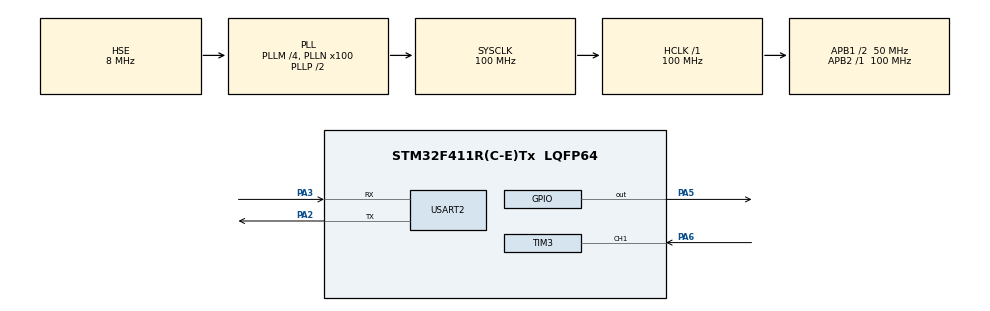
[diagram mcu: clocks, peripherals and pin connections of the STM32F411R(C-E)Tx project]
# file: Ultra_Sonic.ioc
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Mcu.Family=STM32F4
Mcu.Name=STM32F411R(C-E)Tx
Mcu.Package=LQFP64
NVIC.PriorityGroup=NVIC_PRIORITYGROUP_4
NVIC.TIM1_TRG_COM_TIM11_IRQn=true\:0\:0\:false\:false\:true\:true\:true\:true
NVIC.TIM3_IRQn=true\:0\:0\:false\:false\:true\:true\:true\:true
NVIC.USART2_IRQn=true\:0\:0\:false\:false\:true\:true\:true\:true
PA13.Mode=Serial_Wire
PA13.Signal=SYS_JTMS-SWDIO
PA14.Mode=Serial_Wire
PA14.Signal=SYS_JTCK-SWCLK
PA2.Mode=Asynchronous
PA2.Signal=USART2_TX
PA3.Mode=Asynchronous
PA3.Signal=USART2_RX
PA5.GPIO_Speed=GPIO_SPEED_FREQ_HIGH
PA5.Signal=GPIO_Output
PA6.Signal=S_TIM3_CH1
PH0\ -\ OSC_IN.Mode=HSE-External-Oscillator
PH0\ -\ OSC_IN.Signal=RCC_OSC_IN
PH1\ -\ OSC_OUT.Mode=HSE-External-Oscillator
PH1\ -\ OSC_OUT.Signal=RCC_OSC_OUT
ProjectManager.HeapSize=0x200
ProjectManager.StackSize=0x400
ProjectManager.TargetToolchain=STM32CubeIDE
RCC.48MHZClocksFreq_Value=50000000
RCC.AHBFreq_Value=100000000
RCC.APB1CLKDivider=RCC_HCLK_DIV2
RCC.APB1Freq_Value=50000000
RCC.APB1TimFreq_Value=100000000
RCC.APB2Freq_Value=100000000
RCC.APB2TimFreq_Value=100000000
RCC.CortexFreq_Value=100000000
RCC.HCLKFreq_Value=100000000
RCC.HSE_VALUE=8000000
RCC.HSI_VALUE=16000000
RCC.LSE_VALUE=32768
RCC.PLLM=4
RCC.PLLN=100
RCC.PLLSourceVirtual=RCC_PLLSOURCE_HSE
RCC.SYSCLKFreq_VALUE=100000000
RCC.SYSCLKSource=RCC_SYSCLKSOURCE_PLLCLK
RCC.VCOOutputFreq_Value=200000000
SH.S_TIM3_CH1.0=TIM3_CH1,Input_Capture1_from_TI1
TIM11.Prescaler=100-1
TIM3.AutoReloadPreload=TIM_AUTORELOAD_PRELOAD_DISABLE
TIM3.Channel-Input_Capture1_from_TI1=TIM_CHANNEL_1
TIM3.Period=0xffff-1
TIM3.Prescaler=100-1
USART2.VirtualMode=VM_ASYNC
VP_TIM11_VS_ClockSourceINT.Mode=Enable_Timer
VP_TIM3_VS_ClockSourceINT.Mode=Internal
board=custom

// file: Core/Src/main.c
/* USER CODE BEGIN Header */
/**
  ******************************************************************************
  * @file           : main.c
  * @brief          : Main program body
  ******************************************************************************
  * @attention
  *
  * Copyright (c) 2023 STMicroelectronics.
  * All rights reserved.
  *
  * This software is licensed under terms that can be found in the LICENSE file
  * in the root directory of this software component.
  * If no LICENSE file comes with this software, it is provided AS-IS.
  *
  ******************************************************************************
  */
/* USER CODE END Header */
#include "main.h"
#include "tim.h"
#include "usart.h"
#include "gpio.h"

/* USER CODE BEGIN Includes */

#include "stdio.h"
#include "delay.h"

/* USER CODE END Includes */

/* USER CODE BEGIN PD */

#define TRIG_PORT   GPIOA
#define TRIG_PIN    GPIO_PIN_5

/* USER CODE END PD */

/* USER CODE BEGIN PM */

#ifdef __GNUC__
  /* With GCC, small printf (option LD Linker->Libraries->Small printf
     set to 'Yes') calls __io_putchar() */
  #define PUTCHAR_PROTOTYPE int __io_putchar(int ch)
#else
  #define PUTCHAR_PROTOTYPE int fputc(int ch, FILE *f)
#endif /* __GNUC__ */
PUTCHAR_PROTOTYPE
{
  /* Place your implementation of fputc here */
  /* e.g. write a character to the EVAL_COM1 and Loop until the end of transmission */
  HAL_UART_Transmit(&huart2, (uint8_t *)&ch, 1, 0xFFFF);

  return ch;
}

/* USER CODE END PM */

/* USER CODE BEGIN PV */

uint32_t INC_Value1 = 0;
uint32_t INC_Value2 = 0;
uint32_t echoTime = 0;
uint8_t captureFlag = 0;
uint8_t distance  = 0;

//uint8_t Is_First_Captured = 0;  // is the first value captured ?

/* USER CODE END PV */

void SystemClock_Config(void);
/* USER CODE BEGIN PFP */

void HAL_TIM_IC_CaptureCallback(TIM_HandleTypeDef *htim)
{
    if (htim->Channel == HAL_TIM_ACTIVE_CHANNEL_1)  // if the interrupt source is channel1
    {
        if (captureFlag == 0) // if the first value is not captured
        {
          INC_Value1 = HAL_TIM_ReadCapturedValue(&htim3, TIM_CHANNEL_1); // read the first value
          captureFlag = 1;  // set the first captured as true

            // Now change the polarity to falling edge
            __HAL_TIM_SET_CAPTUREPOLARITY(htim, TIM_CHANNEL_1, TIM_INPUTCHANNELPOLARITY_FALLING);
        }

        else if (captureFlag == 1)   // if the first is already captured
        {
          INC_Value2 = HAL_TIM_ReadCapturedValue(&htim3, TIM_CHANNEL_1);  // read second value
            __HAL_TIM_SET_COUNTER(&htim3, 0);  // reset the counter

            if (INC_Value2 > INC_Value1)
            {
              echoTime = INC_Value2-INC_Value1;
            }

            else if (INC_Value1 > INC_Value2)
            {
              echoTime = (0xffff - INC_Value1) + INC_Value2;
            }

            //distance = echoTime * .034/2;
            distance = echoTime/58;
            captureFlag = 0; // set it back to false

            // set polarity to rising edge
            __HAL_TIM_SET_CAPTUREPOLARITY(htim, TIM_CHANNEL_1, TIM_INPUTCHANNELPOLARITY_RISING);
            __HAL_TIM_DISABLE_IT(&htim3, TIM_IT_CC1);
        }
    }
}

void HCSR04_Read (void)
{
    HAL_GPIO_WritePin(TRIG_PORT, TRIG_PIN, GPIO_PIN_SET);  // pull the TRIG pin HIGH
    delay_us(10);  // wait for 10 us
    HAL_GPIO_WritePin(TRIG_PORT, TRIG_PIN, GPIO_PIN_RESET);  // pull the TRIG pin low

    __HAL_TIM_ENABLE_IT(&htim3, TIM_IT_CC1);
}

/* USER CODE END PFP */

int main(void)
{

  /* MCU Configuration--------------------------------------------------------*/

  /* Reset of all peripherals, Initializes the Flash interface and the Systick. */
  HAL_Init();

  /* Configure the system clock */
  SystemClock_Config();

  /* Initialize all configured peripherals */
  MX_GPIO_Init();
  MX_TIM3_Init();
  MX_USART2_UART_Init();
  MX_TIM11_Init();
  /* USER CODE BEGIN 2 */
  HAL_TIM_Base_Start_IT(&htim11);
  HAL_TIM_IC_Start_IT(&htim3, TIM_CHANNEL_1);

  /* USER CODE END 2 */

  /* Infinite loop */
  while (1)
  {

    /* USER CODE BEGIN 3 */

    HCSR04_Read();
    if(distance < 10)
    {
    	printf("warning\r\n");
    	HAL_Delay(200);
    }
    else
    {
    	printf("%d cm\r\n",distance);
		HAL_Delay(200);
    }

  }
  /* USER CODE END 3 */
}

void SystemClock_Config(void)
{
  RCC_OscInitTypeDef RCC_OscInitStruct = {0};
  RCC_ClkInitTypeDef RCC_ClkInitStruct = {0};

  /** Configure the main internal regulator output voltage
  */
  __HAL_RCC_PWR_CLK_ENABLE();
  __HAL_PWR_VOLTAGESCALING_CONFIG(PWR_REGULATOR_VOLTAGE_SCALE1);

  /** Initializes the RCC Oscillators according to the specified parameters
  * in the RCC_OscInitTypeDef structure.
  */
  RCC_OscInitStruct.OscillatorType = RCC_OSCILLATORTYPE_HSE;
  RCC_OscInitStruct.HSEState = RCC_HSE_ON;
  RCC_OscInitStruct.PLL.PLLState = RCC_PLL_ON;
  RCC_OscInitStruct.PLL.PLLSource = RCC_PLLSOURCE_HSE;
  RCC_OscInitStruct.PLL.PLLM = 4;
  RCC_OscInitStruct.PLL.PLLN = 100;
  RCC_OscInitStruct.PLL.PLLP = RCC_PLLP_DIV2;
  RCC_OscInitStruct.PLL.PLLQ = 4;
  if (HAL_RCC_OscConfig(&RCC_OscInitStruct) != HAL_OK)
  {
    Error_Handler();
  }

  /** Initializes the CPU, AHB and APB buses clocks
  */
  RCC_ClkInitStruct.ClockType = RCC_CLOCKTYPE_HCLK|RCC_CLOCKTYPE_SYSCLK
                              |RCC_CLOCKTYPE_PCLK1|RCC_CLOCKTYPE_PCLK2;
  RCC_ClkInitStruct.SYSCLKSource = RCC_SYSCLKSOURCE_PLLCLK;
  RCC_ClkInitStruct.AHBCLKDivider = RCC_SYSCLK_DIV1;
  RCC_ClkInitStruct.APB1CLKDivider = RCC_HCLK_DIV2;
  RCC_ClkInitStruct.APB2CLKDivider = RCC_HCLK_DIV1;

  if (HAL_RCC_ClockConfig(&RCC_ClkInitStruct, FLASH_LATENCY_3) != HAL_OK)
  {
    Error_Handler();
  }
}

void Error_Handler(void)
{
  __disable_irq();
  while (1)
  {
  }
}
